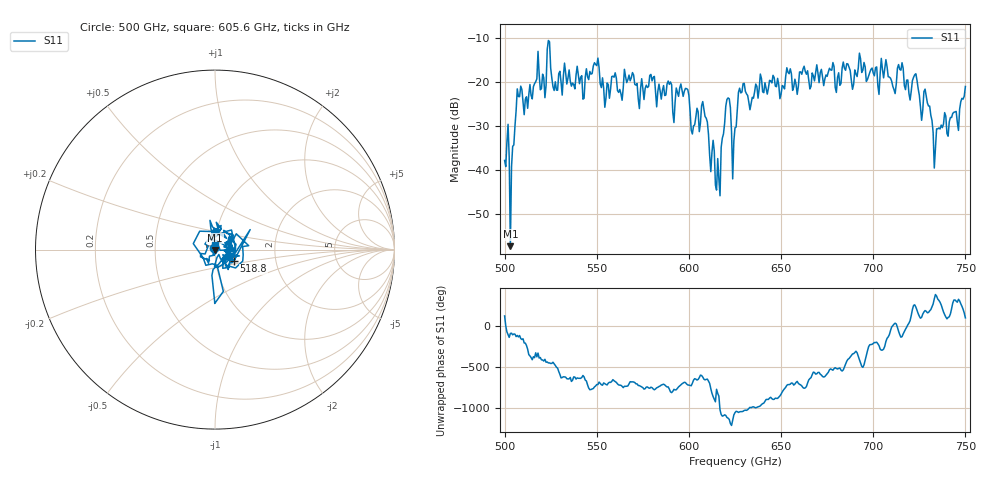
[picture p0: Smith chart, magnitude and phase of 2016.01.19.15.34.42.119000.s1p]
!Created with skrf (http://scikit-rf.org).
# GHz S RI R 50.0
!freq ReS11 ImS11
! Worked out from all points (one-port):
!   401 points, 500 GHz to 750 GHz, reference 50 ohm
!   lowest |S11| = -57.4 dB at 503.1 GHz (marker M1), VSWR 1.00, Z = 50 - j0.134 ohm
!   |S11| at or under -10 dB: start of sweep to end of sweep
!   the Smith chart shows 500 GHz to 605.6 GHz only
!   S11 on the Smith chart (normalised r, x): 500 GHz: 0.99, +0.02; 518.8 GHz: 1.22, -0.16; 605.6 GHz: 1.00, +0.05
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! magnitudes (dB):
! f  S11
! 500 GHz  -37.9
! 503.1 GHz  -57.4
! 508.1 GHz  -23.3
! 518.8 GHz  -18.2
! 521.2 GHz  -19.0
! 524.4 GHz  -10.8
! 527.5 GHz  -19.9
! 531.2 GHz  -22.9
! 541.9 GHz  -18.5
! 550 GHz  -16.2
! 553.8 GHz  -21.4
! 562.5 GHz  -21.6
! 593.8 GHz  -22.3
! 605.6 GHz  -31.3
! 608.8 GHz  -27.8
! 615.6 GHz  -37.4
! 621.2 GHz  -23.6
! 625 GHz  -30.4
! 628.8 GHz  -22.3
! 656.2 GHz  -21.9
! 687.5 GHz  -17.3
! 705.6 GHz  -19.0
! 711.2 GHz  -21.7
! 715 GHz  -17.2
! 718.8 GHz  -19.5
! 728.8 GHz  -23.1
! 733.8 GHz  -35.0
! 750 GHz  -21.0
